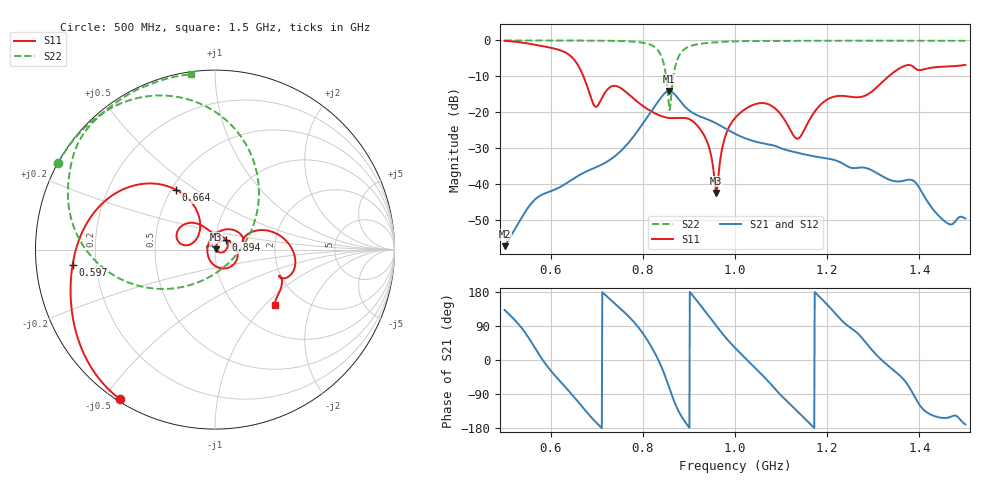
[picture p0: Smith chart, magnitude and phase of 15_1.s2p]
! TOUCHSTONE file generated by CST MICROWAVE STUDIO
! Date and time: Mon Oct 26 12:06:30 2020
! Project name: Scenario_1_Circular_Tissue_out_of_Line_v2.cst
! Parameters = {dy1=-103.8; L_HA=400; MT=2.54; Rad_Dielectric=30; Rad_Lower=7.3; Rad_Upper=30; a_HA=580; a_WG=246; b_HA=500; b_WG=121; c_HA=0; c_WG=187; d_feed=85; dx1=173; h_feed=15; h_lower=18; h_upper=40}
! Header version: 2018
! Port assignment regex: !\s*Touchstone port\s*([0-9]+)\s*=\s*(CST MWS port|CST DS port)\s*([0-9]+|Zmin|Zmax)\s*\(\"(.*)\"\)(\s*mode\s*([0-9]+))?.*
! Touchstone port assignment:
! Touchstone port 1 = CST MWS port 1 ("")
! Touchstone port 2 = CST MWS port 2 ("")
# GHz S DB R 50
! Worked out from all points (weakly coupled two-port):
!   1003 points, 500 MHz to 1.5 GHz, reference 50 ohm
!   highest |S21| = -14.09 dB at 857 MHz (marker M1); lowest = -57.4 dB at 500 MHz (marker M2)
!   lowest |S11| = -42.5 dB at 959 MHz (marker M3), VSWR 1.02, Z = 50.7 + j0.15 ohm
!   |S11| at or under -10 dB: 671 MHz to 1.334 GHz (662.5 MHz wide, 66.1 % of centre)
!   |S22| runs from -19.4 to 0.0 dB; largest |S21 - S12| = 0.0001
!   S11 on the Smith chart (normalised r, x): 500 MHz: 0.01, -0.55; 597 MHz: 0.11, -0.05; 664 MHz: 0.53, +0.42; 894 MHz: 1.12, +0.12; 1.5 GHz: 1.46, -1.15
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0.5  -0.11 -122.5  -57.38 132.0  -57.38 132.0  -0.01 151.1
0.597  -1.96 -174.0  -42.21 -23.4  -42.21 -23.4  -0.02 144.3
0.664  -8.01 123.0  -37.43 -117.0  -37.43 -117.0  -0.04 138.6
0.667  -8.81 120.4  -37.22 -121.4  -37.22 -121.4  -0.04 138.3
0.697  -18.48 145.0  -35.45 -162.8  -35.45 -162.8  -0.07 135.1
0.741  -12.69 149.5  -32.11 147.1  -32.11 147.1  -0.14 129.1
0.798  -18.08 111.5  -23.56 73.7  -23.55 73.7  -0.59 113.9
0.834  -20.78 96.7  -16.89 -0.9  -16.89 -0.9  -2.96 83.8
0.857  -21.63 83.3  -14.09 -72.4  -14.09 -72.4  -18.68 -20.4
0.869  -21.67 73.2  -15.02 -112.2  -15.02 -112.2  -8.03 -146.7
0.894  -21.68 41.3  -18.79 -167.4  -18.79 -167.3  -2.10 172.3
0.936  -27.24 -21.2  -21.80 127.2  -21.80 127.2  -0.77 152.3
0.959  -42.52 11.4  -23.11 90.3  -23.11 90.3  -0.50 147.1
0.977  -27.54 65.4  -24.39 63.2  -24.39 63.2  -0.36 143.9
1  -21.65 36.3  -26.02 32.2  -26.02 32.2  -0.25 140.3
1.07  -17.70 -44.8  -28.94 -53.4  -28.94 -53.4  -0.14 132.3
1.135  -27.42 176.8  -31.31 -135.1  -31.31 -135.1  -0.12 126.7
1.167  -21.00 87.2  -32.21 -173.4  -32.21 -173.4  -0.11 124.1
1.334  -9.95 19.1  -38.80 -16.7  -38.80 -16.7  -0.09 111.5
1.388  -7.45 -21.9  -39.21 -93.0  -39.21 -93.0  -0.09 107.2
1.462  -7.27 -36.4  -51.05 -152.2  -51.04 -152.1  -0.11 101.1
1.5  -6.82 -43.0  -49.66 -170.1  -49.43 -169.6  -0.12 97.7
